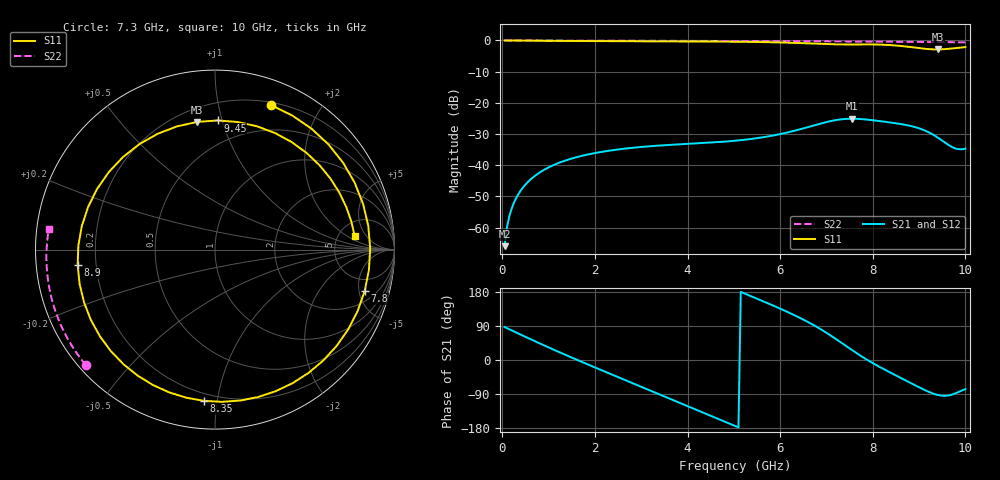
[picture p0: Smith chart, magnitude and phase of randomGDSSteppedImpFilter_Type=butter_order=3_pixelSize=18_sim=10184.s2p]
! freq	dB(S11)	phase(S11)	dB(S12)	phase(S12)
!  dB(S21)	phase(S21)	dB(S22)	phase(S22)
!S-par simulation data
#  GHz  S  DB  R 50
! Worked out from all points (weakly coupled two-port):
!   200 points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, 50 MHz to 10 GHz, reference 50 ohm
!   highest |S21| = -25.10 dB at 7.55 GHz (marker M1); lowest = -66.0 dB at 50 MHz (marker M2)
!   lowest |S11| = -2.9 dB at 9.4 GHz (marker M3), VSWR 6.10, Z = 14.1 + j41.5 ohm
!   |S11| at or under -10 dB: nowhere
!   |S22| runs from -0.6 to 0.0 dB; largest |S21 - S12| = 0
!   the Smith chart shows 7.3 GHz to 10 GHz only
!   S11 on the Smith chart (normalised r, x): 7.3 GHz: 0.23, +1.44; 7.8 GHz: 3.11, -5.71; 8.35 GHz: 0.16, -0.92; 8.9 GHz: 0.13, -0.06; 9.45 GHz: 0.32, +0.97; 10 GHz: 7.13, +2.72
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0.05  -0.00 -4.8  -65.97 86.9  -65.97 86.9  -0.00 -1.1
0.3  -0.04 -28.3  -50.53 72.5  -50.53 72.5  -0.01 -6.4
0.9  -0.11 -83.8  -41.50 38.7  -41.50 38.7  -0.02 -19.0
1.75  -0.19 -159.5  -36.89 -6.7  -36.89 -6.7  -0.05 -36.6
2.2  -0.22 161.3  -35.59 -29.8  -35.59 -29.8  -0.06 -45.7
2.7  -0.25 118.2  -34.60 -55.3  -34.60 -55.3  -0.07 -55.6
3.4  -0.29 59.9  -33.69 -91.1  -33.69 -91.1  -0.09 -69.1
4.2  -0.33 -1.7  -33.02 -132.0  -33.02 -132.0  -0.12 -84.1
5.05  -0.41 -61.2  -32.13 -175.2  -32.13 -175.2  -0.16 -99.4
5.9  -0.60 -122.3  -30.33 140.9  -30.33 140.9  -0.20 -114.2
6.35  -0.79 -161.7  -28.80 115.8  -28.80 115.8  -0.23 -122.0
6.7  -0.99 159.5  -27.37 93.7  -27.37 93.7  -0.26 -128.0
7.05  -1.20 110.2  -25.99 67.9  -25.99 67.9  -0.29 -133.9
7.3  -1.28 68.7  -25.33 47.3  -25.33 47.3  -0.31 -138.2
7.55  -1.28 25.6  -25.10 26.2  -25.10 26.2  -0.33 -142.5
7.8  -1.26 -15.5  -25.27 6.3  -25.27 6.3  -0.35 -146.7
8.1  -1.30 -59.9  -25.76 -15.1  -25.76 -15.1  -0.38 -151.9
8.35  -1.46 -94.2  -26.25 -31.3  -26.25 -31.3  -0.40 -156.3
8.9  -2.27 -173.6  -27.73 -65.9  -27.73 -65.9  -0.46 -166.1
9.4  -2.87 97.9  -31.11 -92.2  -31.11 -92.2  -0.52 -175.3
9.45  -2.86 88.9  -31.62 -93.4  -31.62 -93.4  -0.53 -176.2
10  -2.13 5.4  -34.71 -76.9  -34.71 -76.9  -0.60 173.1
